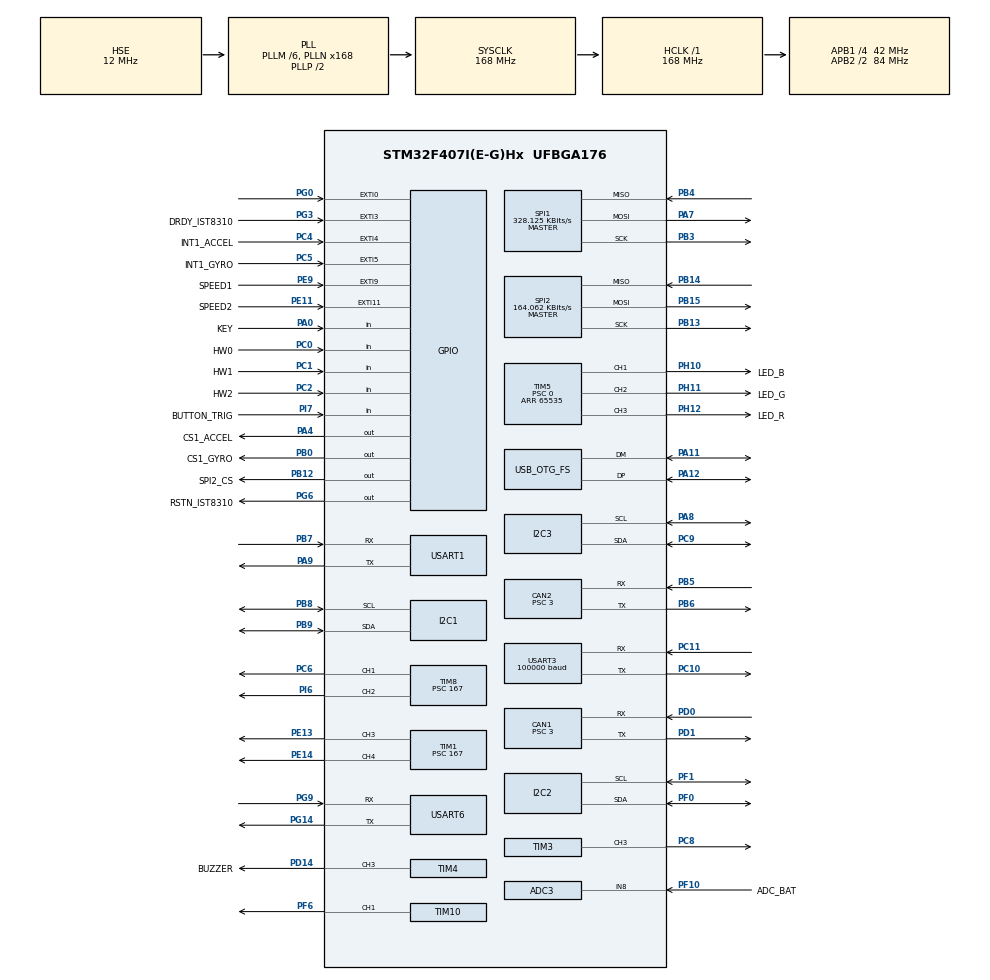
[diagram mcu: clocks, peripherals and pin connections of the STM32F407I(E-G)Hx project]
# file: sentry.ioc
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ADC1.Channel-0\#ChannelRegularConversion=ADC_CHANNEL_TEMPSENSOR
ADC1.ClockPrescaler=ADC_CLOCK_SYNC_PCLK_DIV6
ADC1.NbrOfConversionFlag=1
ADC1.Rank-0\#ChannelRegularConversion=1
ADC1.SamplingTime-0\#ChannelRegularConversion=ADC_SAMPLETIME_3CYCLES
ADC1.master=1
ADC3.Channel-0\#ChannelRegularConversion=ADC_CHANNEL_8
ADC3.ClockPrescaler=ADC_CLOCK_SYNC_PCLK_DIV6
ADC3.NbrOfConversionFlag=1
ADC3.Rank-0\#ChannelRegularConversion=1
ADC3.SamplingTime-0\#ChannelRegularConversion=ADC_SAMPLETIME_3CYCLES
CAN1.BS1=CAN_BS1_10TQ
CAN1.BS2=CAN_BS2_3TQ
CAN1.CalculateBaudRate=1000000
CAN1.CalculateTimeQuantum=71.42857142857143
CAN1.Prescaler=3
CAN2.BS1=CAN_BS1_10TQ
CAN2.BS2=CAN_BS2_3TQ
CAN2.CalculateBaudRate=1000000
CAN2.CalculateTimeQuantum=71.42857142857143
CAN2.Prescaler=3
Dma.I2C2_TX.2.Direction=DMA_MEMORY_TO_PERIPH
Dma.I2C2_TX.2.FIFOMode=DMA_FIFOMODE_DISABLE
Dma.I2C2_TX.2.Instance=DMA1_Stream7
Dma.I2C2_TX.2.MemDataAlignment=DMA_MDATAALIGN_BYTE
Dma.I2C2_TX.2.MemInc=DMA_MINC_ENABLE
Dma.I2C2_TX.2.Mode=DMA_NORMAL
Dma.I2C2_TX.2.PeriphDataAlignment=DMA_PDATAALIGN_BYTE
Dma.I2C2_TX.2.PeriphInc=DMA_PINC_DISABLE
Dma.I2C2_TX.2.Priority=DMA_PRIORITY_HIGH
Dma.Request0=SPI1_RX
Dma.Request1=SPI1_TX
Dma.Request2=I2C2_TX
Dma.Request3=USART3_RX
Dma.Request4=USART6_RX
Dma.Request5=USART6_TX
Dma.Request6=USART1_TX
Dma.Request7=USART1_RX
Dma.SPI1_RX.0.Direction=DMA_PERIPH_TO_MEMORY
Dma.SPI1_RX.0.FIFOMode=DMA_FIFOMODE_DISABLE
Dma.SPI1_RX.0.Instance=DMA2_Stream2
Dma.SPI1_RX.0.MemDataAlignment=DMA_MDATAALIGN_BYTE
Dma.SPI1_RX.0.MemInc=DMA_MINC_ENABLE
Dma.SPI1_RX.0.Mode=DMA_NORMAL
Dma.SPI1_RX.0.PeriphDataAlignment=DMA_PDATAALIGN_BYTE
Dma.SPI1_RX.0.PeriphInc=DMA_PINC_DISABLE
Dma.SPI1_RX.0.Priority=DMA_PRIORITY_VERY_HIGH
Dma.SPI1_TX.1.Direction=DMA_MEMORY_TO_PERIPH
Dma.SPI1_TX.1.FIFOMode=DMA_FIFOMODE_DISABLE
Dma.SPI1_TX.1.Instance=DMA2_Stream3
Dma.SPI1_TX.1.MemDataAlignment=DMA_MDATAALIGN_BYTE
Dma.SPI1_TX.1.MemInc=DMA_MINC_ENABLE
Dma.SPI1_TX.1.Mode=DMA_NORMAL
Dma.SPI1_TX.1.PeriphDataAlignment=DMA_PDATAALIGN_BYTE
Dma.SPI1_TX.1.PeriphInc=DMA_PINC_DISABLE
Dma.SPI1_TX.1.Priority=DMA_PRIORITY_HIGH
Dma.USART1_RX.7.Direction=DMA_PERIPH_TO_MEMORY
Dma.USART1_RX.7.FIFOMode=DMA_FIFOMODE_DISABLE
Dma.USART1_RX.7.Instance=DMA2_Stream5
Dma.USART1_RX.7.MemDataAlignment=DMA_MDATAALIGN_BYTE
Dma.USART1_RX.7.MemInc=DMA_MINC_ENABLE
Dma.USART1_RX.7.Mode=DMA_NORMAL
Dma.USART1_RX.7.PeriphDataAlignment=DMA_PDATAALIGN_BYTE
Dma.USART1_RX.7.PeriphInc=DMA_PINC_DISABLE
Dma.USART1_RX.7.Priority=DMA_PRIORITY_LOW
Dma.USART1_TX.6.Direction=DMA_MEMORY_TO_PERIPH
Dma.USART1_TX.6.FIFOMode=DMA_FIFOMODE_DISABLE
Dma.USART1_TX.6.Instance=DMA2_Stream7
Dma.USART1_TX.6.MemDataAlignment=DMA_MDATAALIGN_BYTE
Dma.USART1_TX.6.MemInc=DMA_MINC_ENABLE
Dma.USART1_TX.6.Mode=DMA_NORMAL
Dma.USART1_TX.6.PeriphDataAlignment=DMA_PDATAALIGN_BYTE
Dma.USART1_TX.6.PeriphInc=DMA_PINC_DISABLE
Dma.USART1_TX.6.Priority=DMA_PRIORITY_MEDIUM
Dma.USART3_RX.3.Direction=DMA_PERIPH_TO_MEMORY
Dma.USART3_RX.3.FIFOMode=DMA_FIFOMODE_DISABLE
Dma.USART3_RX.3.Instance=DMA1_Stream1
Dma.USART3_RX.3.MemDataAlignment=DMA_MDATAALIGN_BYTE
Dma.USART3_RX.3.MemInc=DMA_MINC_ENABLE
Dma.USART3_RX.3.Mode=DMA_NORMAL
Dma.USART3_RX.3.PeriphDataAlignment=DMA_PDATAALIGN_BYTE
Dma.USART3_RX.3.PeriphInc=DMA_PINC_DISABLE
Dma.USART3_RX.3.Priority=DMA_PRIORITY_HIGH
Dma.USART6_RX.4.Direction=DMA_PERIPH_TO_MEMORY
Dma.USART6_RX.4.FIFOMode=DMA_FIFOMODE_DISABLE
Dma.USART6_RX.4.Instance=DMA2_Stream1
Dma.USART6_RX.4.MemDataAlignment=DMA_MDATAALIGN_BYTE
Dma.USART6_RX.4.MemInc=DMA_MINC_ENABLE
Dma.USART6_RX.4.Mode=DMA_NORMAL
Dma.USART6_RX.4.PeriphDataAlignment=DMA_PDATAALIGN_BYTE
Dma.USART6_RX.4.PeriphInc=DMA_PINC_DISABLE
Dma.USART6_RX.4.Priority=DMA_PRIORITY_HIGH
Dma.USART6_TX.5.Direction=DMA_MEMORY_TO_PERIPH
Dma.USART6_TX.5.FIFOMode=DMA_FIFOMODE_DISABLE
Dma.USART6_TX.5.Instance=DMA2_Stream6
Dma.USART6_TX.5.MemDataAlignment=DMA_MDATAALIGN_BYTE
Dma.USART6_TX.5.MemInc=DMA_MINC_ENABLE
Dma.USART6_TX.5.Mode=DMA_NORMAL
Dma.USART6_TX.5.PeriphDataAlignment=DMA_PDATAALIGN_BYTE
Dma.USART6_TX.5.PeriphInc=DMA_PINC_DISABLE
Dma.USART6_TX.5.Priority=DMA_PRIORITY_MEDIUM
FREERTOS.INCLUDE_eTaskGetState=1
FREERTOS.INCLUDE_pcTaskGetTaskName=1
FREERTOS.INCLUDE_uxTaskGetStackHighWaterMark=1
FREERTOS.INCLUDE_vTaskCleanUpResources=1
FREERTOS.INCLUDE_vTaskDelayUntil=1
FREERTOS.INCLUDE_xEventGroupSetBitFromISR=1
FREERTOS.INCLUDE_xQueueGetMutexHolder=1
FREERTOS.INCLUDE_xSemaphoreGetMutexHolder=1
FREERTOS.INCLUDE_xTaskAbortDelay=1
FREERTOS.INCLUDE_xTaskGetCurrentTaskHandle=1
FREERTOS.INCLUDE_xTaskGetHandle=1
FREERTOS.INCLUDE_xTimerPendFunctionCall=1
FREERTOS.Tasks01=test,24,128,test_task,As weak,NULL,Dynamic,NULL,NULL
FREERTOS.configTOTAL_HEAP_SIZE=24576
I2C1.I2C_Mode=I2C_Fast
I2C2.I2C_Mode=I2C_Fast
I2C3.I2C_Mode=I2C_Fast
Mcu.Family=STM32F4
Mcu.Name=STM32F407I(E-G)Hx
Mcu.Package=UFBGA176
NVIC.CAN1_RX0_IRQn=true\:6\:0\:true\:false\:true\:true\:true\:true\:true
NVIC.CAN2_RX0_IRQn=true\:6\:0\:true\:false\:true\:true\:true\:true\:true
NVIC.DMA1_Stream1_IRQn=true\:5\:0\:true\:false\:false\:true\:false\:false\:true
NVIC.DMA1_Stream7_IRQn=true\:5\:0\:true\:false\:false\:true\:false\:true\:true
NVIC.DMA2_Stream1_IRQn=true\:5\:0\:true\:false\:true\:true\:false\:true\:true
NVIC.DMA2_Stream2_IRQn=true\:5\:0\:true\:false\:false\:true\:false\:true\:true
NVIC.DMA2_Stream3_IRQn=true\:5\:0\:true\:false\:false\:true\:false\:true\:true
NVIC.DMA2_Stream5_IRQn=true\:5\:0\:false\:false\:true\:true\:false\:true\:true
NVIC.DMA2_Stream6_IRQn=true\:5\:0\:true\:false\:true\:true\:false\:true\:true
NVIC.DMA2_Stream7_IRQn=true\:5\:0\:true\:false\:true\:true\:false\:true\:true
NVIC.EXTI0_IRQn=true\:6\:0\:true\:false\:true\:true\:true\:true\:true
NVIC.EXTI15_10_IRQn=true\:5\:0\:false\:false\:true\:true\:true\:true\:true
NVIC.EXTI3_IRQn=true\:5\:0\:true\:false\:true\:true\:true\:true\:true
NVIC.EXTI4_IRQn=true\:5\:0\:true\:false\:true\:true\:true\:true\:true
NVIC.EXTI9_5_IRQn=true\:5\:0\:true\:false\:true\:true\:true\:true\:true
NVIC.OTG_FS_IRQn=true\:5\:0\:false\:false\:true\:true\:false\:true\:true
NVIC.PriorityGroup=NVIC_PRIORITYGROUP_4
NVIC.USART1_IRQn=true\:5\:0\:false\:false\:true\:true\:true\:true\:true
NVIC.USART3_IRQn=true\:4\:0\:true\:false\:false\:false\:true\:true\:true
NVIC.USART6_IRQn=true\:5\:0\:true\:false\:false\:true\:true\:true\:true
PA0-WKUP.GPIO_Label=KEY
PA0-WKUP.GPIO_PuPd=GPIO_PULLUP
PA0-WKUP.Signal=GPIO_Input
PA11.Mode=Device_Only
PA11.Signal=USB_OTG_FS_DM
PA12.Mode=Device_Only
PA12.Signal=USB_OTG_FS_DP
PA13.Mode=Serial_Wire
PA13.Signal=SYS_JTMS-SWDIO
PA14.Mode=Serial_Wire
PA14.Signal=SYS_JTCK-SWCLK
PA4.GPIO_Label=CS1_ACCEL
PA4.GPIO_PuPd=GPIO_PULLUP
PA4.GPIO_Speed=GPIO_SPEED_FREQ_HIGH
PA4.PinState=GPIO_PIN_SET
PA4.Signal=GPIO_Output
PA7.GPIO_PuPd=GPIO_PULLUP
PA7.Mode=Full_Duplex_Master
PA7.Signal=SPI1_MOSI
PA8.GPIO_Pu=GPIO_PULLUP
PA8.Mode=I2C
PA8.Signal=I2C3_SCL
PA9.Mode=Asynchronous
PA9.Signal=USART1_TX
PB0.GPIO_Label=CS1_GYRO
PB0.GPIO_PuPd=GPIO_PULLUP
PB0.GPIO_Speed=GPIO_SPEED_FREQ_HIGH
PB0.PinState=GPIO_PIN_SET
PB0.Signal=GPIO_Output
PB12.GPIO_Label=SPI2_CS
PB12.GPIO_PuPd=GPIO_PULLUP
PB12.GPIO_Speed=GPIO_SPEED_FREQ_MEDIUM
PB12.PinState=GPIO_PIN_SET
PB12.Signal=GPIO_Output
PB13.GPIO_PuPd=GPIO_PULLUP
PB13.Mode=Full_Duplex_Master
PB13.Signal=SPI2_SCK
PB14.GPIO_PuPd=GPIO_PULLUP
PB14.Mode=Full_Duplex_Master
PB14.Signal=SPI2_MISO
PB15.GPIO_PuPd=GPIO_PULLUP
PB15.Mode=Full_Duplex_Master
PB15.Signal=SPI2_MOSI
PB3.GPIO_PuPd=GPIO_PULLUP
PB3.Mode=Full_Duplex_Master
PB3.Signal=SPI1_SCK
PB4.GPIO_PuPd=GPIO_PULLUP
PB4.Mode=Full_Duplex_Master
PB4.Signal=SPI1_MISO
PB5.Mode=CAN_Activate
PB5.Signal=CAN2_RX
PB6.Mode=CAN_Activate
PB6.Signal=CAN2_TX
PB7.Mode=Asynchronous
PB7.Signal=USART1_RX
PB8.GPIO_Pu=GPIO_PULLUP
PB8.Mode=I2C
PB8.Signal=I2C1_SCL
PB9.GPIO_Pu=GPIO_PULLUP
PB9.Mode=I2C
PB9.Signal=I2C1_SDA
PC0.GPIO_Label=HW0
PC0.Signal=GPIO_Input
PC1.GPIO_Label=HW1
PC1.Signal=GPIO_Input
PC10.Mode=Asynchronous
PC10.Signal=USART3_TX
PC11.Mode=Asynchronous
PC11.Signal=USART3_RX
PC2.GPIO_Label=HW2
PC2.Signal=GPIO_Input
PC4.GPIO_Label=INT1_ACCEL
PC4.GPIO_ModeDefaultEXTI=GPIO_MODE_IT_FALLING
PC4.GPIO_PuPd=GPIO_PULLUP
PC4.Signal=GPXTI4
PC5.GPIO_Label=INT1_GYRO
PC5.GPIO_ModeDefaultEXTI=GPIO_MODE_IT_FALLING
PC5.GPIO_PuPd=GPIO_PULLUP
PC5.Signal=GPXTI5
PC6.GPIO_PuPd=GPIO_PULLUP
PC6.GPIO_Speed=GPIO_SPEED_FREQ_HIGH
PC6.Signal=S_TIM8_CH1
PC8.GPIO_PuPd=GPIO_PULLUP
PC8.GPIO_Speed=GPIO_SPEED_FREQ_HIGH
PC8.Signal=S_TIM3_CH3
PC9.GPIO_Pu=GPIO_PULLUP
PC9.Mode=I2C
PC9.Signal=I2C3_SDA
PD0.Mode=CAN_Activate
PD0.Signal=CAN1_RX
PD1.Mode=CAN_Activate
PD1.Signal=CAN1_TX
PD14.GPIO_Label=BUZZER
PD14.GPIO_PuPd=GPIO_PULLUP
PD14.GPIO_Speed=GPIO_SPEED_FREQ_VERY_HIGH
PD14.Signal=S_TIM4_CH3
PE11.GPIO_Label=SPEED2
PE11.GPIO_ModeDefaultEXTI=GPIO_MODE_IT_RISING
PE11.GPIO_PuPd=GPIO_NOPULL
PE11.Signal=GPXTI11
PE13.GPIO_PuPd=GPIO_PULLUP
PE13.GPIO_Speed=GPIO_SPEED_FREQ_HIGH
PE13.Signal=S_TIM1_CH3
PE14.GPIO_PuPd=GPIO_PULLUP
PE14.GPIO_Speed=GPIO_SPEED_FREQ_HIGH
PE14.Signal=S_TIM1_CH4
PE9.GPIO_Label=SPEED1
PE9.GPIO_ModeDefaultEXTI=GPIO_MODE_IT_RISING
PE9.GPIO_PuPd=GPIO_NOPULL
PE9.Signal=GPXTI9
PF0.GPIO_Pu=GPIO_PULLUP
PF0.Mode=I2C
PF0.Signal=I2C2_SDA
PF1.GPIO_Pu=GPIO_PULLUP
PF1.Mode=I2C
PF1.Signal=I2C2_SCL
PF10.GPIO_Label=ADC_BAT
PF10.Mode=IN8
PF10.Signal=ADC3_IN8
PF6.GPIO_PuPd=GPIO_PULLUP
PF6.GPIO_Speed=GPIO_SPEED_FREQ_HIGH
PF6.Signal=S_TIM10_CH1
PG0.GPIO_ModeDefaultEXTI=GPIO_MODE_IT_FALLING
PG0.GPIO_PuPd=GPIO_PULLUP
PG0.Signal=GPXTI0
PG14.Mode=Asynchronous
PG14.Signal=USART6_TX
PG3.GPIO_Label=DRDY_IST8310
PG3.GPIO_ModeDefaultEXTI=GPIO_MODE_IT_FALLING
PG3.GPIO_PuPd=GPIO_PULLUP
PG3.Signal=GPXTI3
PG6.GPIO_Label=RSTN_IST8310
PG6.GPIO_PuPd=GPIO_PULLUP
PG6.GPIO_Speed=GPIO_SPEED_FREQ_MEDIUM
PG6.PinState=GPIO_PIN_SET
PG6.Signal=GPIO_Output
PG9.Mode=Asynchronous
PG9.Signal=USART6_RX
PH0-OSC_IN.Mode=HSE-External-Oscillator
PH0-OSC_IN.Signal=RCC_OSC_IN
PH1-OSC_OUT.Mode=HSE-External-Oscillator
PH1-OSC_OUT.Signal=RCC_OSC_OUT
PH10.GPIO_Label=LED_B
PH10.GPIO_PuPd=GPIO_PULLUP
PH10.GPIO_Speed=GPIO_SPEED_FREQ_HIGH
PH10.Signal=S_TIM5_CH1
PH11.GPIO_Label=LED_G
PH11.GPIO_PuPd=GPIO_PULLUP
PH11.GPIO_Speed=GPIO_SPEED_FREQ_HIGH
PH11.Signal=S_TIM5_CH2
PH12.GPIO_Label=LED_R
PH12.GPIO_PuPd=GPIO_PULLUP
PH12.GPIO_Speed=GPIO_SPEED_FREQ_HIGH
PH12.Signal=S_TIM5_CH3
PI6.GPIO_PuPd=GPIO_PULLUP
PI6.GPIO_Speed=GPIO_SPEED_FREQ_HIGH
PI6.Signal=S_TIM8_CH2
PI7.GPIO_Label=BUTTON_TRIG
PI7.GPIO_PuPd=GPIO_PULLUP
PI7.Signal=GPIO_Input
ProjectManager.HeapSize=0x2000
ProjectManager.StackSize=0x2000
ProjectManager.TargetToolchain=MDK-ARM V5
RCC.48MHZClocksFreq_Value=48000000
RCC.AHBFreq_Value=168000000
RCC.APB1CLKDivider=RCC_HCLK_DIV4
RCC.APB1Freq_Value=42000000
RCC.APB1TimFreq_Value=84000000
RCC.APB2CLKDivider=RCC_HCLK_DIV2
RCC.APB2Freq_Value=84000000
RCC.APB2TimFreq_Value=168000000
RCC.CortexFreq_Value=168000000
RCC.HCLKFreq_Value=168000000
RCC.HSE_VALUE=12000000
RCC.HSI_VALUE=16000000
RCC.LSE_VALUE=32768
RCC.PLLM=6
RCC.PLLN=168
RCC.PLLQ=7
RCC.RCC_RTC_Clock_SourceVirtual=RCC_RTCCLKSOURCE_HSE_DIV30
RCC.RCC_RTC_Clock_Source_FROM_HSE=RCC_RTCCLKSOURCE_HSE_DIV30
RCC.SYSCLKFreq_VALUE=168000000
RCC.SYSCLKSource=RCC_SYSCLKSOURCE_PLLCLK
RCC.VCOOutputFreq_Value=336000000
RTC.AsynchPrediv=124
RTC.SynchPrediv=3199
SH.S_TIM10_CH1.0=TIM10_CH1,PWM Generation1 CH1
SH.S_TIM1_CH3.0=TIM1_CH3,PWM Generation3 CH3
SH.S_TIM1_CH4.0=TIM1_CH4,PWM Generation4 CH4
SH.S_TIM3_CH3.0=TIM3_CH3,PWM Generation3 CH3
SH.S_TIM4_CH3.0=TIM4_CH3,PWM Generation3 CH3
SH.S_TIM5_CH1.0=TIM5_CH1,PWM Generation1 CH1
SH.S_TIM5_CH2.0=TIM5_CH2,PWM Generation2 CH2
SH.S_TIM5_CH3.0=TIM5_CH3,PWM Generation3 CH3
SH.S_TIM8_CH1.0=TIM8_CH1,PWM Generation1 CH1
SH.S_TIM8_CH2.0=TIM8_CH2,PWM Generation2 CH2
SPI1.BaudRatePrescaler=SPI_BAUDRATEPRESCALER_256
SPI1.CLKPhase=SPI_PHASE_2EDGE
SPI1.CLKPolarity=SPI_POLARITY_HIGH
SPI1.CalculateBaudRate=328.125 KBits/s
SPI1.Direction=SPI_DIRECTION_2LINES
SPI1.Mode=SPI_MODE_MASTER
SPI1.VirtualType=VM_MASTER
SPI2.BaudRatePrescaler=SPI_BAUDRATEPRESCALER_256
SPI2.CLKPhase=SPI_PHASE_2EDGE
SPI2.CLKPolarity=SPI_POLARITY_HIGH
SPI2.CalculateBaudRate=164.062 KBits/s
SPI2.Direction=SPI_DIRECTION_2LINES
SPI2.Mode=SPI_MODE_MASTER
SPI2.VirtualType=VM_MASTER
TIM1.Channel-PWM\ Generation3\ CH3=TIM_CHANNEL_3
TIM1.Channel-PWM\ Generation4\ CH4=TIM_CHANNEL_4
TIM1.Period=19999
TIM1.Prescaler=167
TIM1.Pulse-PWM\ Generation3\ CH3=1000
TIM1.Pulse-PWM\ Generation4\ CH4=1000
TIM10.Channel=TIM_CHANNEL_1
TIM10.Period=4999
TIM3.Channel-PWM\ Generation3\ CH3=TIM_CHANNEL_3
TIM3.Period=8399
TIM4.Channel-PWM\ Generation3\ CH3=TIM_CHANNEL_3
TIM4.Period=65535
TIM4.Prescaler=167
TIM5.Channel-PWM\ Generation1\ CH1=TIM_CHANNEL_1
TIM5.Channel-PWM\ Generation2\ CH2=TIM_CHANNEL_2
TIM5.Channel-PWM\ Generation3\ CH3=TIM_CHANNEL_3
TIM5.Period=65535
TIM5.Prescaler=0
TIM8.Channel-PWM\ Generation1\ CH1=TIM_CHANNEL_1
TIM8.Channel-PWM\ Generation2\ CH2=TIM_CHANNEL_2
TIM8.Period=19999
TIM8.Prescaler=167
TIM8.Pulse-PWM\ Generation1\ CH1=1000
TIM8.Pulse-PWM\ Generation2\ CH2=1000
USART1.VirtualMode=VM_ASYNC
USART3.BaudRate=100000
USART3.Parity=PARITY_EVEN
USART3.VirtualMode=VM_ASYNC
USART6.VirtualMode=VM_ASYNC
USB_DEVICE.CLASS_NAME_FS=CDC
USB_DEVICE.VirtualMode-CDC_FS=Cdc
USB_DEVICE.VirtualModeFS=Cdc_FS
USB_OTG_FS.VirtualMode=Device_Only
VP_ADC1_TempSens_Input.Mode=IN-TempSens
VP_ADC1_Vref_Input.Mode=IN-Vrefint
VP_CRC_VS_CRC.Mode=CRC_Activate
VP_FREERTOS_VS_CMSIS_V1.Mode=CMSIS_V1
VP_RNG_VS_RNG.Mode=RNG_Activate
VP_RTC_VS_RTC_Activate.Mode=RTC_Enabled
VP_TIM10_VS_ClockSourceINT.Mode=Enable_Timer
VP_TIM1_VS_ClockSourceINT.Mode=Internal
VP_TIM3_VS_ClockSourceINT.Mode=Internal
VP_TIM4_VS_ClockSourceINT.Mode=Internal
VP_TIM5_VS_ClockSourceINT.Mode=Internal
VP_TIM8_VS_ClockSourceINT.Mode=Internal
VP_USB_DEVICE_VS_USB_DEVICE_CDC_FS.Mode=CDC_FS
board=custom

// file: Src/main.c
/* USER CODE BEGIN Header */
/**
  ******************************************************************************
  * @file           : main.c
  * @brief          : Main program body
  ******************************************************************************
  * @attention
  *
  * <h2><center>&copy; Copyright (c) 2019 STMicroelectronics.
  * All rights reserved.</center></h2>
  *
  * This software component is licensed by ST under Ultimate Liberty license
  * SLA0044, the "License"; You may not use this file except in compliance with
  * the License. You may obtain a copy of the License at:
  *                             www.st.com/SLA0044
  *
  ******************************************************************************
  */
/* USER CODE END Header */
#include "main.h"
#include "cmsis_os.h"
#include "adc.h"
#include "can.h"
#include "crc.h"
#include "dma.h"
#include "i2c.h"
#include "rng.h"
#include "rtc.h"
#include "spi.h"
#include "tim.h"
#include "usart.h"
#include "usb_device.h"
#include "gpio.h"

/* USER CODE BEGIN Includes */
#include "bsp_can.h"
#include "bsp_delay.h"
#include "bsp_usart.h"
#include "remote_control.h"
#include "chassis_task.h"
#include "gimbal_task.h"
#include "USART_receive.h"
/* USER CODE END Includes */

void SystemClock_Config(void);
void MX_FREERTOS_Init(void);

int main(void)
{

  /* MCU Configuration--------------------------------------------------------*/

  /* Reset of all peripherals, Initializes the Flash interface and the Systick. */
  HAL_Init();

  /* Configure the system clock */
  SystemClock_Config();

  /* Initialize all configured peripherals */
  MX_GPIO_Init();
  MX_DMA_Init();
  MX_ADC1_Init();
  MX_ADC3_Init();
  MX_CAN1_Init();
  MX_CAN2_Init();
  MX_I2C1_Init();
  MX_SPI1_Init();
  MX_TIM4_Init();
  MX_TIM5_Init();
  MX_USART3_UART_Init();
  MX_TIM8_Init();
  MX_CRC_Init();
  MX_RNG_Init();
  MX_I2C2_Init();
  MX_I2C3_Init();
  MX_RTC_Init();
  MX_SPI2_Init();
  MX_TIM1_Init();
  MX_TIM3_Init();
  MX_TIM10_Init();
  MX_USART1_UART_Init();
  MX_USART6_UART_Init();
  /* USER CODE BEGIN 2 */
  can_filter_init();
  delay_init();
  remote_control_init();
  user_usart_init();//与上位机通信串口初始化
  /* USER CODE END 2 */
    /*蜂鸣器的PWM启动*/
    HAL_TIM_Base_Start(&htim4);
    HAL_TIM_PWM_Start(&htim4, TIM_CHANNEL_3);
  /* Call init function for freertos objects (in freertos.c) */
  MX_FREERTOS_Init();//任务初始化

  /* Start scheduler */
  osKernelStart();//启动调度器，即开启任务

  /* We should never get here as control is now taken by the scheduler */
  /* Infinite loop */
  while (1)
  {

  }
}

void SystemClock_Config(void)
{
  RCC_OscInitTypeDef RCC_OscInitStruct = {0};
  RCC_ClkInitTypeDef RCC_ClkInitStruct = {0};

  /** Configure the main internal regulator output voltage
  */
  __HAL_RCC_PWR_CLK_ENABLE();
  __HAL_PWR_VOLTAGESCALING_CONFIG(PWR_REGULATOR_VOLTAGE_SCALE1);

  /** Initializes the RCC Oscillators according to the specified parameters
  * in the RCC_OscInitTypeDef structure.
  */
  RCC_OscInitStruct.OscillatorType = RCC_OSCILLATORTYPE_HSE;
  RCC_OscInitStruct.HSEState = RCC_HSE_ON;
  RCC_OscInitStruct.PLL.PLLState = RCC_PLL_ON;
  RCC_OscInitStruct.PLL.PLLSource = RCC_PLLSOURCE_HSE;
  RCC_OscInitStruct.PLL.PLLM = 6;
  RCC_OscInitStruct.PLL.PLLN = 168;
  RCC_OscInitStruct.PLL.PLLP = RCC_PLLP_DIV2;
  RCC_OscInitStruct.PLL.PLLQ = 7;
  if (HAL_RCC_OscConfig(&RCC_OscInitStruct) != HAL_OK)
  {
    Error_Handler();
  }

  /** Initializes the CPU, AHB and APB buses clocks
  */
  RCC_ClkInitStruct.ClockType = RCC_CLOCKTYPE_HCLK|RCC_CLOCKTYPE_SYSCLK
                              |RCC_CLOCKTYPE_PCLK1|RCC_CLOCKTYPE_PCLK2;
  RCC_ClkInitStruct.SYSCLKSource = RCC_SYSCLKSOURCE_PLLCLK;
  RCC_ClkInitStruct.AHBCLKDivider = RCC_SYSCLK_DIV1;
  RCC_ClkInitStruct.APB1CLKDivider = RCC_HCLK_DIV4;
  RCC_ClkInitStruct.APB2CLKDivider = RCC_HCLK_DIV2;

  if (HAL_RCC_ClockConfig(&RCC_ClkInitStruct, FLASH_LATENCY_5) != HAL_OK)
  {
    Error_Handler();
  }
}

void Error_Handler(void)
{
}

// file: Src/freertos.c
/* USER CODE BEGIN Header */
/**
 ******************************************************************************
 * File Name          : freertos.c
 * Description        : Code for freertos applications
 ******************************************************************************
 * @attention
 *
 * @copyright Copyright (c) 2022 SPR
 * All rights reserved.</center></h2>
 *
 * �ڴ˴���������
 * osThreadId����������
 * osThreadDef�������񲢷����������ȼ�����ջ��С�����漰�������ݴ���������Ӧ�ʵ�������ջ�ռ�
 * osThreadCreate�������񣬷��ؾ��
 * ��TaskĿ¼�±�д��Ӧ�������
 *
 *
 ******************************************************************************
 */
/* USER CODE END Header */

#include "FreeRTOS.h"
#include "task.h"
#include "main.h"
#include "cmsis_os.h"

/* USER CODE BEGIN Includes */

#include "chassis_task.h"
#include "gimbal_task.h"
#include "INS_task.h"
#include "referee_usart_task.h"
#include "shoot_task.h"
#include "detect_task.h"
#include "send_task.h"
#include "config.h"
#include "radar_task.h"

/* USER CODE END Includes */

/* USER CODE BEGIN Variables */
osThreadId chassisTaskHandle;
osThreadId gimbalTaskHandle;
osThreadId imuTaskHandle;
osThreadId referee_usartTaskHandle;
osThreadId servoTaskHandle;
osThreadId detectTaskHandle;
osThreadId testHandle;
osThreadId fireTaskHandle;

/* USER CODE END Variables */
osThreadId testHandle;

void test_task(void const * argument);

extern void MX_USB_DEVICE_Init(void);
void MX_FREERTOS_Init(void); /* (MISRA C 2004 rule 8.1) */

/* GetIdleTaskMemory prototype (linked to static allocation support) */
void vApplicationGetIdleTaskMemory( StaticTask_t **ppxIdleTaskTCBBuffer, StackType_t **ppxIdleTaskStackBuffer, uint32_t *pulIdleTaskStackSize );

/* GetTimerTaskMemory prototype (linked to static allocation support) */
void vApplicationGetTimerTaskMemory( StaticTask_t **ppxTimerTaskTCBBuffer, StackType_t **ppxTimerTaskStackBuffer, uint32_t *pulTimerTaskStackSize );

/* USER CODE BEGIN GET_IDLE_TASK_MEMORY */
static StaticTask_t xIdleTaskTCBBuffer;
static StackType_t xIdleStack[configMINIMAL_STACK_SIZE];

void vApplicationGetIdleTaskMemory(StaticTask_t **ppxIdleTaskTCBBuffer, StackType_t **ppxIdleTaskStackBuffer, uint32_t *pulIdleTaskStackSize)
{
  *ppxIdleTaskTCBBuffer = &xIdleTaskTCBBuffer;
  *ppxIdleTaskStackBuffer = &xIdleStack[0];
  *pulIdleTaskStackSize = configMINIMAL_STACK_SIZE;
  /* place for user code */
}
/* USER CODE END GET_IDLE_TASK_MEMORY */

/* USER CODE BEGIN GET_TIMER_TASK_MEMORY */
static StaticTask_t xTimerTaskTCBBuffer;
static StackType_t xTimerStack[configTIMER_TASK_STACK_DEPTH];

void vApplicationGetTimerTaskMemory(StaticTask_t **ppxTimerTaskTCBBuffer, StackType_t **ppxTimerTaskStackBuffer, uint32_t *pulTimerTaskStackSize)
{
  *ppxTimerTaskTCBBuffer = &xTimerTaskTCBBuffer;
  *ppxTimerTaskStackBuffer = &xTimerStack[0];
  *pulTimerTaskStackSize = configTIMER_TASK_STACK_DEPTH;
  /* place for user code */
}
/* USER CODE END GET_TIMER_TASK_MEMORY */

void MX_FREERTOS_Init(void) {

  /* Create the thread(s) */
  /* definition and creation of test */
  osThreadDef(test, test_task, osPriorityNormal, 0, 256);
  testHandle = osThreadCreate(osThread(test), NULL);

  /* USER CODE BEGIN RTOS_THREADS */
  /* add threads, ... */
#ifdef RADAR_TASK
  osThreadDef(RADAR, radar_task, osPriorityHigh, 0, 512);
  referee_usartTaskHandle = osThreadCreate(osThread(RADAR), NULL);
#endif
#ifdef CHASSIS_TASK
  osThreadDef(chassisTask, chassis_task, osPriorityAboveNormal, 0, 512);
  chassisTaskHandle = osThreadCreate(osThread(chassisTask), NULL);
#endif
#ifdef GIMBAL_TASK
  osThreadDef(gimbalTask, gimbal_task, osPriorityHigh, 0, 512);
  gimbalTaskHandle = osThreadCreate(osThread(gimbalTask), NULL);
#endif
#ifdef REFEREE_TASK
  osThreadDef(REFEREE, referee_usart_task, osPriorityHigh, 0, 128);
  referee_usartTaskHandle = osThreadCreate(osThread(REFEREE), NULL);
#endif
#ifdef SHOOT_TASK
  osThreadDef(shootTask, fire_task, osPriorityHigh, 0, 512);
  fireTaskHandle = osThreadCreate(osThread(shootTask), NULL);
#endif
#ifdef DETECT_TASK
  osThreadDef(detectTask, detect_task, osPriorityHigh, 0, 256);
  detectTaskHandle = osThreadCreate(osThread(detectTask), NULL);
#endif
#ifdef INS_TASK
  osThreadDef(imuTask, INS_task, osPriorityRealtime, 0, 1024);
  imuTaskHandle = osThreadCreate(osThread(imuTask), NULL);
#endif
#ifdef SEND_TASK
  osThreadDef(sendTask, Send_task, osPriorityHigh, 0, 256);
  sendTaskHandle = osThreadCreate(osThread(sendTask), NULL);
#endif
  /* USER CODE END RTOS_THREADS */

}

__weak void test_task(void const * argument)
{
  /* init code for USB_DEVICE */
  MX_USB_DEVICE_Init();
  for (;;)
  {
    osDelay(1);
  }
}
